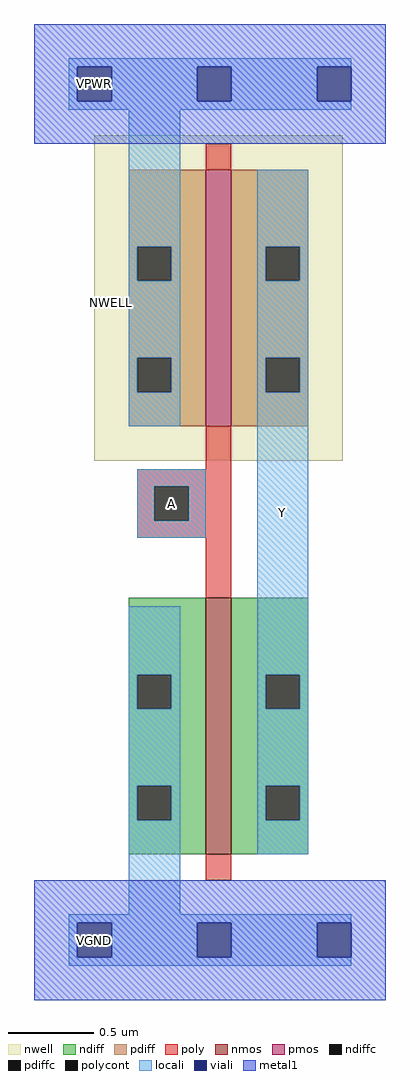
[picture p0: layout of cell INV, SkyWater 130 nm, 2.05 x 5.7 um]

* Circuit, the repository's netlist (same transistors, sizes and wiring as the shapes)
* NGSPICE file created from INV.ext - technology: sky130A

.subckt INV A Y VPWR VGND
X0 Y A VGND VSUBS sky130_fd_pr__nfet_01v8 ad=6.75e+11p pd=3.9e+06u as=6.75e+11p ps=3.9e+06u w=1.5e+06u l=150000u
X1 Y A VPWR NWELL sky130_fd_pr__pfet_01v8 ad=6.75e+11p pd=3.9e+06u as=6.75e+11p ps=3.9e+06u w=1.5e+06u l=150000u
.ends

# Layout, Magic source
magic
tech sky130A
<< nwell >>
rect -65 230 80 420
<< nmos >>
rect 0 0 15 150
<< pmos >>
rect 0 250 15 400
<< ndiff >>
rect -45 105 0 150
rect -45 85 -40 105
rect -20 85 0 105
rect -45 40 0 85
rect -45 20 -40 40
rect -20 20 0 40
rect -45 0 0 20
rect 15 105 60 150
rect 15 85 35 105
rect 55 85 60 105
rect 15 40 60 85
rect 15 20 35 40
rect 55 20 60 40
rect 15 0 60 20
<< pdiff >>
rect -45 355 0 400
rect -45 335 -40 355
rect -20 335 0 355
rect -45 290 0 335
rect -45 270 -40 290
rect -20 270 0 290
rect -45 250 0 270
rect 15 355 60 400
rect 15 335 35 355
rect 55 335 60 355
rect 15 290 60 335
rect 15 270 35 290
rect 55 270 60 290
rect 15 250 60 270
<< ndiffc >>
rect -40 85 -20 105
rect -40 20 -20 40
rect 35 85 55 105
rect 35 20 55 40
<< pdiffc >>
rect -40 335 -20 355
rect -40 270 -20 290
rect 35 335 55 355
rect 35 270 55 290
<< poly >>
rect 0 400 15 415
rect 0 225 15 250
rect -40 215 15 225
rect -40 195 -30 215
rect -10 195 15 215
rect -40 185 15 195
rect 0 150 15 185
rect 0 -15 15 0
<< polycont >>
rect -30 195 -10 215
<< locali >>
rect -80 460 85 465
rect -80 440 -75 460
rect -55 440 -5 460
rect 15 440 65 460
rect -80 435 85 440
rect -45 355 -15 435
rect -45 335 -40 355
rect -20 335 -15 355
rect -45 290 -15 335
rect -45 270 -40 290
rect -20 270 -15 290
rect -45 250 -15 270
rect 30 355 60 400
rect 30 335 35 355
rect 55 335 60 355
rect 30 290 60 335
rect 30 270 35 290
rect 55 270 60 290
rect -40 215 0 225
rect -40 195 -30 215
rect -10 195 0 215
rect -40 185 0 195
rect -45 105 -15 145
rect -45 85 -40 105
rect -20 85 -15 105
rect -45 40 -15 85
rect -45 20 -40 40
rect -20 20 -15 40
rect -45 -35 -15 20
rect 30 105 60 270
rect 30 85 35 105
rect 55 85 60 105
rect 30 40 60 85
rect 30 20 35 40
rect 55 20 60 40
rect 30 0 60 20
rect -80 -40 85 -35
rect -80 -60 -75 -40
rect -55 -60 -5 -40
rect 15 -60 65 -40
rect -80 -65 85 -60
<< viali >>
rect -75 440 -55 460
rect -5 440 15 460
rect 65 440 85 460
rect -75 -60 -55 -40
rect -5 -60 15 -40
rect 65 -60 85 -40
<< metal1 >>
rect -100 460 105 485
rect -100 440 -75 460
rect -55 440 -5 460
rect 15 440 65 460
rect 85 440 105 460
rect -100 415 105 440
rect -100 -40 105 -15
rect -100 -60 -75 -40
rect -55 -60 -5 -40
rect 15 -60 65 -40
rect 85 -60 105 -40
rect -100 -85 105 -60
<< labels >>
rlabel polycont -30 195 -10 215 1 A
rlabel viali -75 -60 -55 -40 1 VGND
rlabel viali -75 440 -55 460 1 VPWR
rlabel nwell -60 305 -50 340 1 NWELL
rlabel locali 30 185 60 215 1 Y
<< end >>
